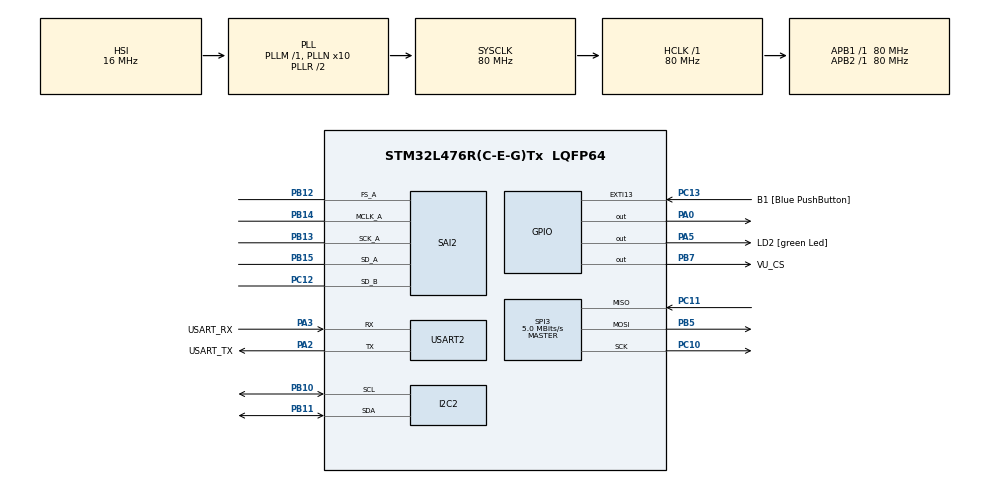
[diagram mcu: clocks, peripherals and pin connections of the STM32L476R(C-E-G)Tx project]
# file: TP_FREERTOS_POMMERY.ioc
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Dma.Request0=SAI2_A
Dma.Request1=SAI2_B
Dma.SAI2_A.0.Direction=DMA_MEMORY_TO_PERIPH
Dma.SAI2_A.0.Instance=DMA1_Channel6
Dma.SAI2_A.0.MemDataAlignment=DMA_MDATAALIGN_HALFWORD
Dma.SAI2_A.0.MemInc=DMA_MINC_ENABLE
Dma.SAI2_A.0.Mode=DMA_CIRCULAR
Dma.SAI2_A.0.PeriphDataAlignment=DMA_PDATAALIGN_HALFWORD
Dma.SAI2_A.0.PeriphInc=DMA_PINC_DISABLE
Dma.SAI2_A.0.Priority=DMA_PRIORITY_MEDIUM
Dma.SAI2_B.1.Direction=DMA_PERIPH_TO_MEMORY
Dma.SAI2_B.1.Instance=DMA1_Channel7
Dma.SAI2_B.1.MemDataAlignment=DMA_MDATAALIGN_HALFWORD
Dma.SAI2_B.1.MemInc=DMA_MINC_ENABLE
Dma.SAI2_B.1.Mode=DMA_CIRCULAR
Dma.SAI2_B.1.PeriphDataAlignment=DMA_PDATAALIGN_HALFWORD
Dma.SAI2_B.1.PeriphInc=DMA_PINC_DISABLE
Dma.SAI2_B.1.Priority=DMA_PRIORITY_MEDIUM
FREERTOS.Tasks01=defaultTask,0,256,StartDefaultTask,Default,NULL,Dynamic,NULL,NULL;SecondTask,0,256,StartTask02,Default,NULL,Dynamic,NULL,NULL;ShellTask,0,256,Startshelltask,Default,NULL,Dynamic,NULL,NULL
FREERTOS.configTOTAL_HEAP_SIZE=10000
FREERTOS.configUSE_NEWLIB_REENTRANT=1
I2C2.Timing=0x10D19CE4
Mcu.Family=STM32L4
Mcu.Name=STM32L476R(C-E-G)Tx
Mcu.Package=LQFP64
NVIC.DMA1_Channel6_IRQn=true\:5\:0\:false\:false\:true\:true\:false\:true\:true
NVIC.DMA1_Channel7_IRQn=true\:5\:0\:false\:false\:true\:true\:false\:true\:true
NVIC.PriorityGroup=NVIC_PRIORITYGROUP_4
NVIC.TIM1_UP_TIM16_IRQn=true\:15\:0\:false\:false\:true\:false\:false\:true\:true
NVIC.TimeBase=TIM1_UP_TIM16_IRQn
NVIC.TimeBaseIP=TIM1
NVIC.USART2_IRQn=true\:5\:0\:false\:false\:true\:true\:true\:true\:true
PA0.Signal=GPIO_Output
PA13\ (JTMS-SWDIO).GPIO_Label=TMS
PA13\ (JTMS-SWDIO).Mode=Trace_Asynchronous_SW
PA13\ (JTMS-SWDIO).Signal=SYS_JTMS-SWDIO
PA14\ (JTCK-SWCLK).GPIO_Label=TCK
PA14\ (JTCK-SWCLK).Mode=Trace_Asynchronous_SW
PA14\ (JTCK-SWCLK).Signal=SYS_JTCK-SWCLK
PA2.GPIO_Label=USART_TX
PA2.GPIO_Mode=GPIO_MODE_AF_PP
PA2.GPIO_PuPd=GPIO_NOPULL
PA2.GPIO_Speed=GPIO_SPEED_FREQ_VERY_HIGH
PA2.Mode=Asynchronous
PA2.Signal=USART2_TX
PA3.GPIO_Label=USART_RX
PA3.GPIO_Mode=GPIO_MODE_AF_PP
PA3.GPIO_PuPd=GPIO_NOPULL
PA3.GPIO_Speed=GPIO_SPEED_FREQ_VERY_HIGH
PA3.Mode=Asynchronous
PA3.Signal=USART2_RX
PA5.GPIO_Label=LD2 [green Led]
PA5.GPIO_ModeDefaultOutputPP=GPIO_MODE_OUTPUT_PP
PA5.GPIO_PuPd=GPIO_NOPULL
PA5.GPIO_Speed=GPIO_SPEED_FREQ_LOW
PA5.Signal=GPIO_Output
PB10.Mode=I2C
PB10.Signal=I2C2_SCL
PB11.Mode=I2C
PB11.Signal=I2C2_SDA
PB12.Mode=SAI_A_MasterWithClock
PB12.Signal=SAI2_FS_A
PB13.Mode=SAI_A_MasterWithClock
PB13.Signal=SAI2_SCK_A
PB14.Mode=SAI_A_MasterWithClock
PB14.Signal=SAI2_MCLK_A
PB15.Mode=SAI_A_MasterWithClock
PB15.Signal=SAI2_SD_A
PB3\ (JTDO-TRACESWO).GPIO_Label=SWO
PB3\ (JTDO-TRACESWO).Mode=Trace_Asynchronous_SW
PB3\ (JTDO-TRACESWO).Signal=SYS_JTDO-SWO
PB5.Mode=Full_Duplex_Master
PB5.Signal=SPI3_MOSI
PB7.GPIO_Label=VU_CS
PB7.Signal=GPIO_Output
PC10.Mode=Full_Duplex_Master
PC10.Signal=SPI3_SCK
PC11.Mode=Full_Duplex_Master
PC11.Signal=SPI3_MISO
PC12.Mode=SAI_B_SyncSlave
PC12.Signal=SAI2_SD_B
PC13.GPIO_Label=B1 [Blue PushButton]
PC13.GPIO_ModeDefaultEXTI=GPIO_MODE_IT_FALLING
PC13.GPIO_PuPd=GPIO_NOPULL
PC13.Signal=GPXTI13
PC14-OSC32_IN\ (PC14).Mode=LSE-External-Oscillator
PC14-OSC32_IN\ (PC14).Signal=RCC_OSC32_IN
PC15-OSC32_OUT\ (PC15).Mode=LSE-External-Oscillator
PC15-OSC32_OUT\ (PC15).Signal=RCC_OSC32_OUT
PH0-OSC_IN\ (PH0).Mode=HSE-External-Oscillator
PH0-OSC_IN\ (PH0).Signal=RCC_OSC_IN
PH1-OSC_OUT\ (PH1).Mode=HSE-External-Oscillator
PH1-OSC_OUT\ (PH1).Signal=RCC_OSC_OUT
ProjectManager.HeapSize=0x200
ProjectManager.StackSize=0x400
ProjectManager.TargetToolchain=STM32CubeIDE
RCC.ADCFreq_Value=104000000
RCC.AHBFreq_Value=80000000
RCC.APB1Freq_Value=80000000
RCC.APB1TimFreq_Value=80000000
RCC.APB2Freq_Value=80000000
RCC.APB2TimFreq_Value=80000000
RCC.CortexFreq_Value=80000000
RCC.HCLKFreq_Value=80000000
RCC.HSE_VALUE=8000000
RCC.HSI_VALUE=16000000
RCC.MSI_VALUE=4000000
RCC.PLLN=10
RCC.PLLSAI1N=13
RCC.PLLSAI1P=RCC_PLLP_DIV17
RCC.PLLSourceVirtual=RCC_PLLSOURCE_HSI
RCC.PREFETCH_ENABLE=1
RCC.SYSCLKFreq_VALUE=80000000
RCC.SYSCLKSource=RCC_SYSCLKSOURCE_PLLCLK
RCC.USBFreq_Value=104000000
RCC.VCOOutputFreq_Value=160000000
SAI2.AudioFrequency-SAI_A_MasterWithClock=SAI_AUDIO_FREQUENCY_48K
SAI2.ErrorAudioFreq-SAI_A_MasterWithClock=-0.42 %
SAI2.InitProtocol-SAI_A_MasterWithClock=Enable
SAI2.InitProtocol-SAI_B_SyncSlave=Enable
SAI2.Instance-SAI_A_MasterWithClock=SAI$Index_Block_A
SAI2.Instance-SAI_B_SyncSlave=SAI$Index_Block_B
SAI2.MClockEnable-SAI_A_MasterWithClock=SAI_MASTERCLOCK_ENABLE
SAI2.RealAudioFreq-SAI_A_MasterWithClock=47.794 KHz
SAI2.VirtualMode-SAI_A_MasterWithClock=VM_MASTER
SAI2.VirtualMode-SAI_B_SyncSlave=VM_SLAVE
SAI2.VirtualProtocol-SAI_A_BASIC=VM_BASIC_PROTOCOL
SAI2.VirtualProtocol-SAI_B_BASIC=VM_BASIC_PROTOCOL
SPI3.BaudRatePrescaler=SPI_BAUDRATEPRESCALER_16
SPI3.CalculateBaudRate=5.0 MBits/s
SPI3.DataSize=SPI_DATASIZE_8BIT
SPI3.Direction=SPI_DIRECTION_2LINES
SPI3.Mode=SPI_MODE_MASTER
SPI3.VirtualType=VM_MASTER
USART2.VirtualMode-Asynchronous=VM_ASYNC
VP_FREERTOS_VS_CMSIS_V1.Mode=CMSIS_V1
VP_SAI2_VP_$IpInstance_SAIA_SAI_BASIC.Mode=SAI_A_BASIC
VP_SAI2_VP_$IpInstance_SAIB_SAI_BASIC.Mode=SAI_B_BASIC
VP_SYS_VS_tim1.Mode=TIM1
board=NUCLEO-L476RG

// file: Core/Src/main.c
/* USER CODE BEGIN Header */
/**
  ******************************************************************************
  * @file           : main.c
  * @brief          : Main program body
  ******************************************************************************
  * @attention
  *
  * Copyright (c) 2025 STMicroelectronics.
  * All rights reserved.
  *
  * This software is licensed under terms that can be found in the LICENSE file
  * in the root directory of this software component.
  * If no LICENSE file comes with this software, it is provided AS-IS.
  *
  ******************************************************************************
  */
/* USER CODE END Header */
#include "main.h"
#include "cmsis_os.h"
#include "dma.h"
#include "i2c.h"
#include "sai.h"
#include "spi.h"
#include "usart.h"
#include "gpio.h"

/* USER CODE BEGIN Includes */
#include "shell.h"
#include "MCP23S17.h"
#include "sgtl5000.h"
#include "RCfilter.h"
/* USER CODE END Includes */

/* USER CODE BEGIN PV */

extern int16_t tri_buf[TRI_LEN];
extern int16_t sai_buf[TRI_LEN * 2];   // *2 pour L/R

int16_t i2s_rx_buf[AUDIO_BUF_BYTES];
int16_t i2s_tx_buf[AUDIO_BUF_BYTES];

volatile uint8_t rx_half_flag = 0;
volatile uint8_t rx_full_flag = 0;

uint8_t sai_send_buf[256];
h_shell_t shellstruct;

h_RC_filter_t filter_struct;
/* USER CODE END PV */

void SystemClock_Config(void);
void PeriphCommonClock_Config(void);
void MX_FREERTOS_Init(void);

/* USER CODE BEGIN 0 */

int __io_putchar(int ch)
{
	HAL_UART_Transmit(&huart2, (uint8_t*)&ch, 1, HAL_MAX_DELAY);

	return ch;
}

void HAL_SAI_RxHalfCpltCallback(SAI_HandleTypeDef *hsai)
{
    if (hsai == &hsai_BlockB2)
    {
        rx_half_flag = 1;
    }
}

void HAL_SAI_RxCpltCallback(SAI_HandleTypeDef *hsai)
{
    if (hsai == &hsai_BlockB2)
    {
        rx_full_flag = 1;
    }
}

/* USER CODE END 0 */

int main(void)
{

  /* MCU Configuration--------------------------------------------------------*/

  /* Reset of all peripherals, Initializes the Flash interface and the Systick. */
  HAL_Init();

  /* Configure the system clock */
  SystemClock_Config();

  /* Configure the peripherals common clocks */
  PeriphCommonClock_Config();

  /* Initialize all configured peripherals */
  MX_GPIO_Init();
  MX_DMA_Init();
  MX_USART2_UART_Init();
  MX_I2C2_Init();
  MX_SAI2_Init();
  MX_SPI3_Init();
  /* USER CODE BEGIN 2 */

  HAL_Delay(10);

  printf("test123test\n\r");

  MCP23S17_Init();

  uint16_t sgtl_address = 0x14;
  uint16_t data;
  h_sgtl5000_t h_sgtl5000;
  h_sgtl5000.hi2c = &hi2c2;
  h_sgtl5000.dev_address = sgtl_address;

  __HAL_SAI_ENABLE(&hsai_BlockA2);
  __HAL_SAI_ENABLE(&hsai_BlockB2);

  sgtl5000_init(&h_sgtl5000);

  RC_filter_init(&filter_struct,22000,48000);

  CoreDebug->DEMCR |= CoreDebug_DEMCR_TRCENA_Msk;

  // Remettre le compteur à zéro
  DWT->CYCCNT = 0;

  // Activer le compteur de cycles
  DWT->CTRL |= DWT_CTRL_CYCCNTENA_Msk;

  //gen_triangle();
  //build_sai_stereo_from_triangle();
  //HAL_SAI_Transmit_DMA(&hsai_BlockA2,(uint8_t *)sai_buf,TRI_LEN * 2);

  /* USER CODE END 2 */

  /* Call init function for freertos objects (in cmsis_os2.c) */
  MX_FREERTOS_Init();

  /* Start scheduler */
  osKernelStart();

  /* We should never get here as control is now taken by the scheduler */

  /* Infinite loop */
  while (1)
  {

  }
}

void SystemClock_Config(void)
{
  RCC_OscInitTypeDef RCC_OscInitStruct = {0};
  RCC_ClkInitTypeDef RCC_ClkInitStruct = {0};

  /** Configure the main internal regulator output voltage
  */
  if (HAL_PWREx_ControlVoltageScaling(PWR_REGULATOR_VOLTAGE_SCALE1) != HAL_OK)
  {
    Error_Handler();
  }

  /** Initializes the RCC Oscillators according to the specified parameters
  * in the RCC_OscInitTypeDef structure.
  */
  RCC_OscInitStruct.OscillatorType = RCC_OSCILLATORTYPE_HSI;
  RCC_OscInitStruct.HSIState = RCC_HSI_ON;
  RCC_OscInitStruct.HSICalibrationValue = RCC_HSICALIBRATION_DEFAULT;
  RCC_OscInitStruct.PLL.PLLState = RCC_PLL_ON;
  RCC_OscInitStruct.PLL.PLLSource = RCC_PLLSOURCE_HSI;
  RCC_OscInitStruct.PLL.PLLM = 1;
  RCC_OscInitStruct.PLL.PLLN = 10;
  RCC_OscInitStruct.PLL.PLLP = RCC_PLLP_DIV7;
  RCC_OscInitStruct.PLL.PLLQ = RCC_PLLQ_DIV2;
  RCC_OscInitStruct.PLL.PLLR = RCC_PLLR_DIV2;
  if (HAL_RCC_OscConfig(&RCC_OscInitStruct) != HAL_OK)
  {
    Error_Handler();
  }

  /** Initializes the CPU, AHB and APB buses clocks
  */
  RCC_ClkInitStruct.ClockType = RCC_CLOCKTYPE_HCLK|RCC_CLOCKTYPE_SYSCLK
                              |RCC_CLOCKTYPE_PCLK1|RCC_CLOCKTYPE_PCLK2;
  RCC_ClkInitStruct.SYSCLKSource = RCC_SYSCLKSOURCE_PLLCLK;
  RCC_ClkInitStruct.AHBCLKDivider = RCC_SYSCLK_DIV1;
  RCC_ClkInitStruct.APB1CLKDivider = RCC_HCLK_DIV1;
  RCC_ClkInitStruct.APB2CLKDivider = RCC_HCLK_DIV1;

  if (HAL_RCC_ClockConfig(&RCC_ClkInitStruct, FLASH_LATENCY_4) != HAL_OK)
  {
    Error_Handler();
  }
}

void PeriphCommonClock_Config(void)
{
  RCC_PeriphCLKInitTypeDef PeriphClkInit = {0};

  /** Initializes the peripherals clock
  */
  PeriphClkInit.PeriphClockSelection = RCC_PERIPHCLK_SAI2;
  PeriphClkInit.Sai2ClockSelection = RCC_SAI2CLKSOURCE_PLLSAI1;
  PeriphClkInit.PLLSAI1.PLLSAI1Source = RCC_PLLSOURCE_HSI;
  PeriphClkInit.PLLSAI1.PLLSAI1M = 1;
  PeriphClkInit.PLLSAI1.PLLSAI1N = 13;
  PeriphClkInit.PLLSAI1.PLLSAI1P = RCC_PLLP_DIV17;
  PeriphClkInit.PLLSAI1.PLLSAI1Q = RCC_PLLQ_DIV2;
  PeriphClkInit.PLLSAI1.PLLSAI1R = RCC_PLLR_DIV2;
  PeriphClkInit.PLLSAI1.PLLSAI1ClockOut = RCC_PLLSAI1_SAI1CLK;
  if (HAL_RCCEx_PeriphCLKConfig(&PeriphClkInit) != HAL_OK)
  {
    Error_Handler();
  }
}

void HAL_TIM_PeriodElapsedCallback(TIM_HandleTypeDef *htim)
{
  if (htim->Instance == TIM1)
  {
    HAL_IncTick();
  }
}

void Error_Handler(void)
{
  __disable_irq();
  while (1)
  {
  }
}

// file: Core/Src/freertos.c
/* USER CODE BEGIN Header */
/**
  ******************************************************************************
  * File Name          : freertos.c
  * Description        : Code for freertos applications
  ******************************************************************************
  * @attention
  *
  * Copyright (c) 2025 STMicroelectronics.
  * All rights reserved.
  *
  * This software is licensed under terms that can be found in the LICENSE file
  * in the root directory of this software component.
  * If no LICENSE file comes with this software, it is provided AS-IS.
  *
  ******************************************************************************
  */
/* USER CODE END Header */

#include "FreeRTOS.h"
#include "task.h"
#include "main.h"
#include "cmsis_os.h"

/* USER CODE BEGIN Includes */
#include "shell.h"
#include "MCP23S17.h"
#include "sgtl5000.h"
#include "RCfilter.h"
/* USER CODE END Includes */

/* USER CODE BEGIN Variables */
extern h_shell_t shellstruct;
QueueHandle_t uartRxQueue;

extern int16_t i2s_rx_buf[AUDIO_BUF_BYTES];
extern int16_t i2s_tx_buf[AUDIO_BUF_BYTES];

extern volatile uint8_t rx_half_flag;
extern volatile uint8_t rx_full_flag;

extern SAI_HandleTypeDef hsai_BlockA2;  // TX
extern SAI_HandleTypeDef hsai_BlockB2;  // RX

extern h_RC_filter_t filter_struct;

uint32_t tps_filter=0;

int tremolo = 0;
int trem_step = 20;
int trem_min = 4000;
int trem_max = 32767;

/* USER CODE END Variables */
osThreadId defaultTaskHandle;
osThreadId SecondTaskHandle;
osThreadId ShellTaskHandle;

/* USER CODE BEGIN FunctionPrototypes */
int fonction(h_shell_t * h_shell, int argc, char ** argv)
{
	int size = snprintf(h_shell->print_buffer, BUFFER_SIZE, "Je suis une fonction bidon\r\n");
	h_shell->drv.transmit(h_shell->print_buffer, size);

	return 0;
}

int fonction_led(h_shell_t * h_shell, int argc, char ** argv)
{
	if(argc==2){
		int lednum=atoi(argv[0]);
		int ledstate=atoi(argv[1]);
		MCP23S17_SetPin(lednum,ledstate );
		int size = snprintf(h_shell->print_buffer, BUFFER_SIZE, "LED n°%d\r\n",lednum);
		h_shell->drv.transmit(h_shell->print_buffer, size);
	}
	else if(argc==3){
		int lednum=atoi(argv[0])*10+atoi(argv[1]);
		int ledstate=atoi(argv[2]);
		MCP23S17_SetPin(lednum,ledstate );
		int size = snprintf(h_shell->print_buffer, BUFFER_SIZE, "LED n°%d\r\n",lednum);
			h_shell->drv.transmit(h_shell->print_buffer, size);

	}
	else{
		int size = snprintf(h_shell->print_buffer, BUFFER_SIZE, "mauvais arg\r\n");
		h_shell->drv.transmit(h_shell->print_buffer, size);
		return 0;
	}

	return 1;
}

int fonction_filter(h_shell_t * h_shell, int argc, char ** argv)
{
	if(argc>0){
		int freq=atoi(argv[1]);
		RC_filter_init(&filter_struct,(uint16_t ) freq,(uint16_t ) SAMPLING_FREQ);
		int size = snprintf(h_shell->print_buffer, BUFFER_SIZE, "filter cutoff freq at %d\r\n",freq);
		h_shell->drv.transmit(h_shell->print_buffer, size);
	}
	else{
		int size = snprintf(h_shell->print_buffer, BUFFER_SIZE, "mauvais arg\r\n");
		h_shell->drv.transmit(h_shell->print_buffer, size);
		return 0;
	}

	return 1;
}

int fonction_tremolo(h_shell_t * h_shell, int argc, char ** argv)
{
	if(argc>0){
		if(atoi(argv[1])==1){
			tremolo=0;
			trem_step=20;
			int size = snprintf(h_shell->print_buffer, BUFFER_SIZE, "tremolo enabled\r\n");
			h_shell->drv.transmit(h_shell->print_buffer, size);

		}
		else{
			tremolo=32767;
			trem_step=0;
			int size = snprintf(h_shell->print_buffer, BUFFER_SIZE, "tremolo disabled\r\n");
			h_shell->drv.transmit(h_shell->print_buffer, size);

		}

	}
	else{
		int size = snprintf(h_shell->print_buffer, BUFFER_SIZE, "mauvais arg\r\n");
		h_shell->drv.transmit(h_shell->print_buffer, size);
		return 0;
	}

	return 1;
}

/* USER CODE END FunctionPrototypes */

void StartDefaultTask(void const * argument);
void StartTask02(void const * argument);
void Startshelltask(void const * argument);

void MX_FREERTOS_Init(void); /* (MISRA C 2004 rule 8.1) */

/* GetIdleTaskMemory prototype (linked to static allocation support) */
void vApplicationGetIdleTaskMemory( StaticTask_t **ppxIdleTaskTCBBuffer, StackType_t **ppxIdleTaskStackBuffer, uint32_t *pulIdleTaskStackSize );

/* USER CODE BEGIN GET_IDLE_TASK_MEMORY */
static StaticTask_t xIdleTaskTCBBuffer;
static StackType_t xIdleStack[configMINIMAL_STACK_SIZE];

void vApplicationGetIdleTaskMemory( StaticTask_t **ppxIdleTaskTCBBuffer, StackType_t **ppxIdleTaskStackBuffer, uint32_t *pulIdleTaskStackSize )
{
  *ppxIdleTaskTCBBuffer = &xIdleTaskTCBBuffer;
  *ppxIdleTaskStackBuffer = &xIdleStack[0];
  *pulIdleTaskStackSize = configMINIMAL_STACK_SIZE;
  /* place for user code */
}
/* USER CODE END GET_IDLE_TASK_MEMORY */

void MX_FREERTOS_Init(void) {

  /* USER CODE BEGIN RTOS_QUEUES */
  /* add queues, ... */
	uartRxQueue = xQueueCreate(128, sizeof(uint8_t));

  /* USER CODE END RTOS_QUEUES */

  /* Create the thread(s) */
  /* definition and creation of defaultTask */
  osThreadDef(defaultTask, StartDefaultTask, osPriorityNormal, 0, 256);
  defaultTaskHandle = osThreadCreate(osThread(defaultTask), NULL);

  /* definition and creation of SecondTask */
  osThreadDef(SecondTask, StartTask02, osPriorityNormal, 0, 256);
  SecondTaskHandle = osThreadCreate(osThread(SecondTask), NULL);

  /* definition and creation of ShellTask */
  osThreadDef(ShellTask, Startshelltask, osPriorityNormal, 0, 256);
  ShellTaskHandle = osThreadCreate(osThread(ShellTask), NULL);

}

void StartDefaultTask(void const * argument)
{
  /* USER CODE BEGIN StartDefaultTask */
  /* Infinite loop */
  for(;;)
  {
	  VU_UpdateFromBuffer((int16_t *)i2s_rx_buf,AUDIO_BUF_BYTES);
	HAL_GPIO_TogglePin(GPIOA,GPIO_PIN_5);
    osDelay(100);
  }
  /* USER CODE END StartDefaultTask */
}

void StartTask02(void const * argument)
{
  /* USER CODE BEGIN StartTask02 */
    HAL_SAI_Receive_DMA(&hsai_BlockB2,(int16_t *)i2s_rx_buf,AUDIO_BUF_BYTES);

    HAL_SAI_Transmit_DMA(&hsai_BlockA2,(int16_t *)i2s_tx_buf,AUDIO_BUF_BYTES);
    uint32_t t0=0;
  /* Infinite loop */
  for(;;)
  {
	  if (rx_half_flag)
	  {
	      rx_half_flag = 0;

	      for (int i = 0; i < AUDIO_HALF_BYTES; i++)
	      {
	          int16_t x = (int16_t)i2s_rx_buf[i];

	          tremolo += trem_step;
	          if (tremolo >= trem_max) { tremolo = trem_max; trem_step = -trem_step; }
	          if (tremolo <= trem_min) { tremolo = trem_min; trem_step = -trem_step; }

	          int32_t y = ((int32_t)x * (int32_t)tremolo) / 32767;

	          if (y > 32767) y = 32767;
	          if (y < -32768) y = -32768;

	          i2s_tx_buf[i] = RC_filter_update(&filter_struct, (uint16_t)(int16_t)y);
	      }

	  }

	  if (rx_full_flag)
	  {
	      rx_full_flag = 0;

	      t0 = DWT->CYCCNT;

	      for (int i = 0; i < AUDIO_HALF_BYTES; i++)
	      {
	          int idx = i + AUDIO_HALF_BYTES;
	          int16_t x = (int16_t)i2s_rx_buf[idx];

	          tremolo += trem_step;
	          if (tremolo >= trem_max) { tremolo = trem_max; trem_step = -trem_step; }
	          if (tremolo <= trem_min) { tremolo = trem_min; trem_step = -trem_step; }

	          int32_t y = ((int32_t)x * (int32_t)tremolo) / 32767;

	          if (y > 32767) y = 32767;
	          if (y < -32768) y = -32768;

	          i2s_tx_buf[idx] = RC_filter_update(&filter_struct, (uint16_t)(int16_t)y);
	      }

	      tps_filter = DWT->CYCCNT - t0;
	  }

  }
  /* USER CODE END StartTask02 */
}

void Startshelltask(void const * argument)
{
  /* USER CODE BEGIN Startshelltask */

	  shell_init(&shellstruct);
	  shell_add(&shellstruct, 'l', fonction_led, "control des led");
	  shell_add(&shellstruct, 'f', fonction_filter, "Control du filtre RC");
	  shell_add(&shellstruct, 't', fonction_tremolo, "Active ou desactive le tremolo");
  /* Infinite loop */
  for(;;)
  {

	shell_run(&shellstruct);
    osDelay(100);
  }
  /* USER CODE END Startshelltask */
}
